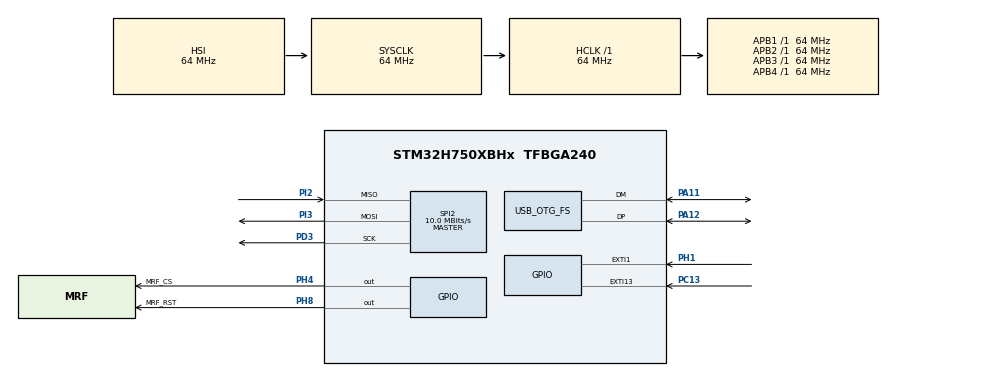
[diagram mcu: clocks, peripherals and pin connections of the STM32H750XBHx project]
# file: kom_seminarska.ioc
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Mcu.Family=STM32H7
Mcu.Name=STM32H750XBHx
Mcu.Package=TFBGA240
NVIC.EXTI15_10_IRQn=true\:0\:0\:false\:false\:true\:true\:true\:true
NVIC.EXTI1_IRQn=true\:0\:0\:false\:false\:true\:true\:true\:true
NVIC.OTG_FS_IRQn=true\:0\:0\:false\:false\:true\:false\:true\:true
NVIC.PriorityGroup=NVIC_PRIORITYGROUP_4
NVIC.SPI2_IRQn=true\:0\:0\:false\:false\:true\:true\:true\:true
NVIC.TIM2_IRQn=true\:15\:0\:false\:false\:true\:false\:true\:true
NVIC.TimeBase=TIM2_IRQn
NVIC.TimeBaseIP=TIM2
PA11.Mode=Device_Only
PA11.Signal=USB_OTG_FS_DM
PA12.Mode=Device_Only
PA12.Signal=USB_OTG_FS_DP
PC13.Signal=GPXTI13
PD3.Mode=Full_Duplex_Master
PD3.Signal=SPI2_SCK
PH1-OSC_OUT\ (PH1).GPIO_ModeDefaultEXTI=GPIO_MODE_IT_FALLING
PH1-OSC_OUT\ (PH1).Signal=GPXTI1
PH4.GPIO_Label=MRF_CS
PH4.PinState=GPIO_PIN_RESET
PH4.Signal=GPIO_Output
PH8.GPIO_Label=MRF_RST
PH8.Signal=GPIO_Output
PI2.Mode=Full_Duplex_Master
PI2.Signal=SPI2_MISO
PI3.Mode=Full_Duplex_Master
PI3.Signal=SPI2_MOSI
ProjectManager.HeapSize=0x2000
ProjectManager.StackSize=0x4000
ProjectManager.TargetToolchain=STM32CubeIDE
RCC.ADCFreq_Value=96000000
RCC.APB1Freq_Value=64000000
RCC.APB2Freq_Value=64000000
RCC.APB3Freq_Value=64000000
RCC.APB4Freq_Value=64000000
RCC.CortexFreq_Value=64000000
RCC.DIVM1=4
RCC.DIVM2=2
RCC.DIVN1=10
RCC.DIVN2=12
RCC.DIVP2=4
RCC.HCLKFreq_Value=64000000
RCC.PLL2FRACN=0
RCC.PLL3FRACN=0
RCC.PLLFRACN=0
RCC.SYSCLKFreq_VALUE=64000000
RCC.USBCLockSelection=RCC_USBCLKSOURCE_HSI48
RCC.USBFreq_Value=48000000
SPI2.BaudRatePrescaler=SPI_BAUDRATEPRESCALER_8
SPI2.CLKPolarity=SPI_POLARITY_LOW
SPI2.CalculateBaudRate=10.0 MBits/s
SPI2.DataSize=SPI_DATASIZE_8BIT
SPI2.Direction=SPI_DIRECTION_2LINES
SPI2.Mode=SPI_MODE_MASTER
SPI2.VirtualType=VM_MASTER
TIM3.Period=0xffff-1
TIM3.Prescaler=64
USB_DEVICE.CLASS_NAME_FS=CDC
USB_DEVICE.VirtualMode-CDC_FS=Cdc
USB_DEVICE.VirtualModeFS=Cdc_FS
USB_OTG_FS.VirtualMode=Device_Only
VP_SYS_VS_tim2.Mode=TIM2
VP_TIM3_VS_ClockSourceINT.Mode=Internal
VP_USB_DEVICE_VS_USB_DEVICE_CDC_FS.Mode=CDC_FS
board=STM32H750B-DK

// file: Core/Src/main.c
/* USER CODE BEGIN Header */
/**
  ******************************************************************************
  * @file           : main.c
  * @brief          : Main program body
  ******************************************************************************
  * @attention
  *
  * Copyright (c) 2024 STMicroelectronics.
  * All rights reserved.
  *
  * This software is licensed under terms that can be found in the LICENSE file
  * in the root directory of this software component.
  * If no LICENSE file comes with this software, it is provided AS-IS.
  *
  ******************************************************************************
  */
/* USER CODE END Header */
#include "main.h"
#include "usb_device.h"

/* USER CODE BEGIN Includes */
#include "real_main.h"
#include "spi_if.h"
#include "mrf24j40ma_dev.h"
#include "gpio_if.h"

/* USER CODE END Includes */

SPI_HandleTypeDef hspi2;

TIM_HandleTypeDef htim3;

void SystemClock_Config(void);
static void MX_GPIO_Init(void);
static void MX_SPI2_Init(void);
static void MX_TIM3_Init(void);

/* USER CODE BEGIN 0 */

static void delay_us(uint16_t delay){
	uint16_t start = __HAL_TIM_SET_COUNTER(&htim3,0);

	while ((__HAL_TIM_SET_COUNTER(&htim3,0) - start) < delay)
	{
	}
}

static void mrf24j0_cs_pin(uint8_t state){
	HAL_GPIO_WritePin(MRF_CS_GPIO_Port,MRF_CS_Pin,state);
}

static void cs_low(void){
	mrf24j0_cs_pin(0);
}

static void cs_high(void){
	mrf24j0_cs_pin(1);
}

static void gpio_if_set_val(gpio_if_t* gpio,uint8_t val){
	HAL_GPIO_WritePin((GPIO_TypeDef *)gpio->port,(uint16_t)gpio->pin,val);
}

void gpio_if_set_pin(gpio_if_t* gpio){
	gpio_if_set_val(gpio,1);
}

void gpio_if_clear_pin(gpio_if_t* gpio){
	gpio_if_set_val(gpio,0);
}

static int spi_tx(spi_if_t* spi,const uint8_t* data,uint16_t len){
	uint32_t status;

	cs_low();
	status = HAL_SPI_Transmit((SPI_HandleTypeDef*)spi->ctx,data,len, HAL_MAX_DELAY);
	cs_high();
	return !(status == HAL_OK);
}

static int spi_rx(spi_if_t* spi,uint8_t* data,uint16_t len){
	uint32_t status;

	cs_low();
	status = HAL_SPI_Receive((SPI_HandleTypeDef*)spi->ctx,data,len, HAL_MAX_DELAY);
	cs_high();
	return !(status == HAL_OK);
}

static int spi_tx_rx(spi_if_t* spi,const uint8_t* tx_data,uint16_t tx_len,
		uint8_t* rx_data,uint16_t rx_len){
	uint32_t status = 0;

	cs_low();
	status |= HAL_SPI_Transmit((SPI_HandleTypeDef*)spi->ctx,tx_data,tx_len, HAL_MAX_DELAY);
	status |= HAL_SPI_Receive((SPI_HandleTypeDef*)spi->ctx,rx_data,rx_len, HAL_MAX_DELAY);
	cs_high();
	return !(status == HAL_OK);
}

extern void main2(spi_if_t* spi_if,gpio_if_t* mrf_rst_pin,mrf24j40ma_delay_us_fn delay_us);

/* USER CODE END 0 */

int main(void)
{

  /* MCU Configuration--------------------------------------------------------*/

  /* Reset of all peripherals, Initializes the Flash interface and the Systick. */
  HAL_Init();

  /* Configure the system clock */
  SystemClock_Config();

  /* Initialize all configured peripherals */
  MX_GPIO_Init();
  MX_SPI2_Init();
  MX_USB_DEVICE_Init();
  MX_TIM3_Init();
  /* USER CODE BEGIN 2 */
  HAL_TIM_Base_Start(&htim3);
  /* USER CODE END 2 */

  /* Infinite loop */
  /* USER CODE BEGIN WHILE */
  spi_if_t spi_if = {
		  .rx = spi_rx,
		  .tx = spi_tx,
		  .tx_rx = spi_tx_rx,
		  .ctx = &hspi2
  };

  gpio_if_t mrf_rst_pin = {
		  .port = (int)MRF_RST_GPIO_Port,
		  .pin = (int)MRF_RST_Pin,
  };

  //main2(&spi_if,&mrf_rst_pin,delay_us);
  real_main(&hspi2);
  while (1)
  {
    /* USER CODE END WHILE */

  }
}

void SystemClock_Config(void)
{
  RCC_OscInitTypeDef RCC_OscInitStruct = {0};
  RCC_ClkInitTypeDef RCC_ClkInitStruct = {0};

  /** Supply configuration update enable
  */
  HAL_PWREx_ConfigSupply(PWR_LDO_SUPPLY);

  /** Configure the main internal regulator output voltage
  */
  __HAL_PWR_VOLTAGESCALING_CONFIG(PWR_REGULATOR_VOLTAGE_SCALE3);

  while(!__HAL_PWR_GET_FLAG(PWR_FLAG_VOSRDY)) {}

  /** Initializes the RCC Oscillators according to the specified parameters
  * in the RCC_OscInitTypeDef structure.
  */
  RCC_OscInitStruct.OscillatorType = RCC_OSCILLATORTYPE_HSI48|RCC_OSCILLATORTYPE_HSI;
  RCC_OscInitStruct.HSIState = RCC_HSI_DIV1;
  RCC_OscInitStruct.HSICalibrationValue = RCC_HSICALIBRATION_DEFAULT;
  RCC_OscInitStruct.HSI48State = RCC_HSI48_ON;
  RCC_OscInitStruct.PLL.PLLState = RCC_PLL_ON;
  RCC_OscInitStruct.PLL.PLLSource = RCC_PLLSOURCE_HSI;
  RCC_OscInitStruct.PLL.PLLM = 4;
  RCC_OscInitStruct.PLL.PLLN = 10;
  RCC_OscInitStruct.PLL.PLLP = 2;
  RCC_OscInitStruct.PLL.PLLQ = 2;
  RCC_OscInitStruct.PLL.PLLR = 2;
  RCC_OscInitStruct.PLL.PLLRGE = RCC_PLL1VCIRANGE_3;
  RCC_OscInitStruct.PLL.PLLVCOSEL = RCC_PLL1VCOMEDIUM;
  RCC_OscInitStruct.PLL.PLLFRACN = 0;
  if (HAL_RCC_OscConfig(&RCC_OscInitStruct) != HAL_OK)
  {
    Error_Handler();
  }

  /** Initializes the CPU, AHB and APB buses clocks
  */
  RCC_ClkInitStruct.ClockType = RCC_CLOCKTYPE_HCLK|RCC_CLOCKTYPE_SYSCLK
                              |RCC_CLOCKTYPE_PCLK1|RCC_CLOCKTYPE_PCLK2
                              |RCC_CLOCKTYPE_D3PCLK1|RCC_CLOCKTYPE_D1PCLK1;
  RCC_ClkInitStruct.SYSCLKSource = RCC_SYSCLKSOURCE_HSI;
  RCC_ClkInitStruct.SYSCLKDivider = RCC_SYSCLK_DIV1;
  RCC_ClkInitStruct.AHBCLKDivider = RCC_HCLK_DIV1;
  RCC_ClkInitStruct.APB3CLKDivider = RCC_APB3_DIV1;
  RCC_ClkInitStruct.APB1CLKDivider = RCC_APB1_DIV1;
  RCC_ClkInitStruct.APB2CLKDivider = RCC_APB2_DIV1;
  RCC_ClkInitStruct.APB4CLKDivider = RCC_APB4_DIV1;

  if (HAL_RCC_ClockConfig(&RCC_ClkInitStruct, FLASH_LATENCY_1) != HAL_OK)
  {
    Error_Handler();
  }
}

static void MX_SPI2_Init(void)
{

  /* SPI2 parameter configuration*/
  hspi2.Instance = SPI2;
  hspi2.Init.Mode = SPI_MODE_MASTER;
  hspi2.Init.Direction = SPI_DIRECTION_2LINES;
  hspi2.Init.DataSize = SPI_DATASIZE_8BIT;
  hspi2.Init.CLKPolarity = SPI_POLARITY_LOW;
  hspi2.Init.CLKPhase = SPI_PHASE_1EDGE;
  hspi2.Init.NSS = SPI_NSS_SOFT;
  hspi2.Init.BaudRatePrescaler = SPI_BAUDRATEPRESCALER_8;
  hspi2.Init.FirstBit = SPI_FIRSTBIT_MSB;
  hspi2.Init.TIMode = SPI_TIMODE_DISABLE;
  hspi2.Init.CRCCalculation = SPI_CRCCALCULATION_DISABLE;
  hspi2.Init.CRCPolynomial = 0x0;
  hspi2.Init.NSSPMode = SPI_NSS_PULSE_ENABLE;
  hspi2.Init.NSSPolarity = SPI_NSS_POLARITY_LOW;
  hspi2.Init.FifoThreshold = SPI_FIFO_THRESHOLD_01DATA;
  hspi2.Init.TxCRCInitializationPattern = SPI_CRC_INITIALIZATION_ALL_ZERO_PATTERN;
  hspi2.Init.RxCRCInitializationPattern = SPI_CRC_INITIALIZATION_ALL_ZERO_PATTERN;
  hspi2.Init.MasterSSIdleness = SPI_MASTER_SS_IDLENESS_00CYCLE;
  hspi2.Init.MasterInterDataIdleness = SPI_MASTER_INTERDATA_IDLENESS_00CYCLE;
  hspi2.Init.MasterReceiverAutoSusp = SPI_MASTER_RX_AUTOSUSP_DISABLE;
  hspi2.Init.MasterKeepIOState = SPI_MASTER_KEEP_IO_STATE_DISABLE;
  hspi2.Init.IOSwap = SPI_IO_SWAP_DISABLE;
  if (HAL_SPI_Init(&hspi2) != HAL_OK)
  {
    Error_Handler();
  }

}

static void MX_TIM3_Init(void)
{

  TIM_ClockConfigTypeDef sClockSourceConfig = {0};
  TIM_MasterConfigTypeDef sMasterConfig = {0};

  htim3.Instance = TIM3;
  htim3.Init.Prescaler = 64;
  htim3.Init.CounterMode = TIM_COUNTERMODE_UP;
  htim3.Init.Period = 0xffff-1;
  htim3.Init.ClockDivision = TIM_CLOCKDIVISION_DIV1;
  htim3.Init.AutoReloadPreload = TIM_AUTORELOAD_PRELOAD_DISABLE;
  if (HAL_TIM_Base_Init(&htim3) != HAL_OK)
  {
    Error_Handler();
  }
  sClockSourceConfig.ClockSource = TIM_CLOCKSOURCE_INTERNAL;
  if (HAL_TIM_ConfigClockSource(&htim3, &sClockSourceConfig) != HAL_OK)
  {
    Error_Handler();
  }
  sMasterConfig.MasterOutputTrigger = TIM_TRGO_RESET;
  sMasterConfig.MasterSlaveMode = TIM_MASTERSLAVEMODE_DISABLE;
  if (HAL_TIMEx_MasterConfigSynchronization(&htim3, &sMasterConfig) != HAL_OK)
  {
    Error_Handler();
  }

}

static void MX_GPIO_Init(void)
{
  GPIO_InitTypeDef GPIO_InitStruct = {0};

  /* GPIO Ports Clock Enable */
  __HAL_RCC_GPIOD_CLK_ENABLE();
  __HAL_RCC_GPIOI_CLK_ENABLE();
  __HAL_RCC_GPIOC_CLK_ENABLE();
  __HAL_RCC_GPIOA_CLK_ENABLE();
  __HAL_RCC_GPIOH_CLK_ENABLE();

  /*Configure GPIO pin Output Level */
  HAL_GPIO_WritePin(GPIOH, MRF_CS_Pin|MRF_RST_Pin, GPIO_PIN_RESET);

  /*Configure GPIO pin : PC13 */
  GPIO_InitStruct.Pin = GPIO_PIN_13;
  GPIO_InitStruct.Mode = GPIO_MODE_IT_RISING;
  GPIO_InitStruct.Pull = GPIO_NOPULL;
  HAL_GPIO_Init(GPIOC, &GPIO_InitStruct);

  /*Configure GPIO pin : PH1 */
  GPIO_InitStruct.Pin = GPIO_PIN_1;
  GPIO_InitStruct.Mode = GPIO_MODE_IT_FALLING;
  GPIO_InitStruct.Pull = GPIO_NOPULL;
  HAL_GPIO_Init(GPIOH, &GPIO_InitStruct);

  /*Configure GPIO pins : MRF_CS_Pin MRF_RST_Pin */
  GPIO_InitStruct.Pin = MRF_CS_Pin|MRF_RST_Pin;
  GPIO_InitStruct.Mode = GPIO_MODE_OUTPUT_PP;
  GPIO_InitStruct.Pull = GPIO_NOPULL;
  GPIO_InitStruct.Speed = GPIO_SPEED_FREQ_LOW;
  HAL_GPIO_Init(GPIOH, &GPIO_InitStruct);

  /* EXTI interrupt init*/
  HAL_NVIC_SetPriority(EXTI1_IRQn, 0, 0);
  HAL_NVIC_EnableIRQ(EXTI1_IRQn);

  HAL_NVIC_SetPriority(EXTI15_10_IRQn, 0, 0);
  HAL_NVIC_EnableIRQ(EXTI15_10_IRQn);

}

void HAL_TIM_PeriodElapsedCallback(TIM_HandleTypeDef *htim)
{
  if (htim->Instance == TIM2) {
    HAL_IncTick();
  }
}

void Error_Handler(void)
{
  __disable_irq();
  while (1)
  {
  }
}
